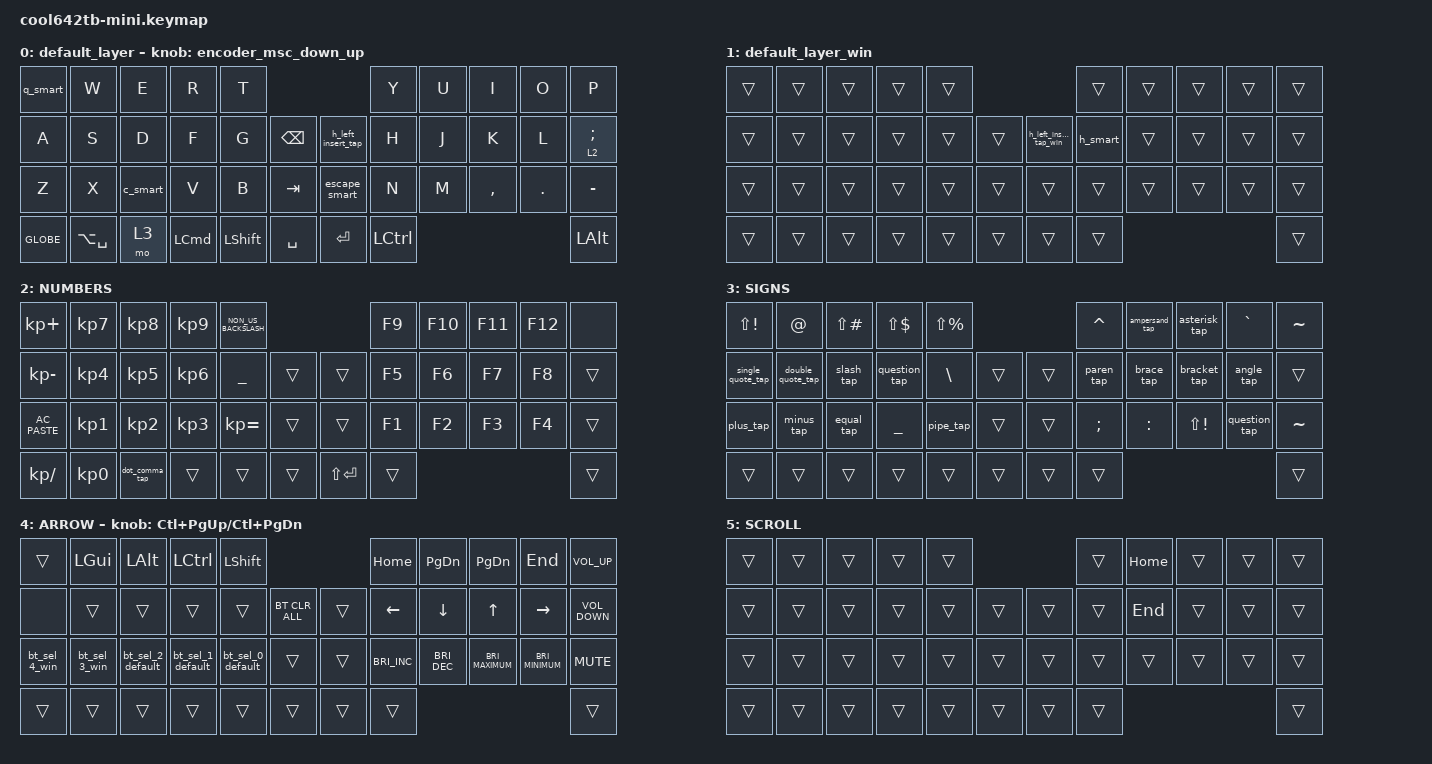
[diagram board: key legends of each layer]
#include <behaviors.dtsi>
#include <dt-bindings/zmk/bt.h>
#include <dt-bindings/zmk/keys.h>
#include <dt-bindings/zmk/pointing.h>

#define LAYER_BASE 0
#define LAYER_BASE_WIN 1
#define LAYER_NUMBERS 2
#define LAYER_SIGNS 3
#define LAYER_ARROW 4
#define LAYER_SCROLL 5
#define ZMK_POINTING_DEFAULT_SCRL_VAL 80

&mt {
    flavor = "balanced";
    quick-tap-ms = <0>;
    tapping-term-ms = <200>;
};

&lt { tapping-term-ms = <200>; };

/ {
    combos {
        compatible = "zmk,combos";

        lang {
            bindings = <&lang_jk_tap>;
            key-positions = <18 19>;
            layers = <0 1>;
        };

        mkp_MB1 {
            bindings = <&mkp MB1>;
            key-positions = <7 9>;
        };

        mkp_MB2 {
            bindings = <&mkp MB2>;
            key-positions = <8 9>;
        };

        mkp_MB3 {
            bindings = <&mkp MB3>;
            key-positions = <7 8 9>;
        };

        mkp_double_MB1 {
            bindings = <&double_click>;
            key-positions = <7 8>;
        };

        mkp_MB4 {
            bindings = <&mkp MB4>;
            key-positions = <19 9>;
        };

        mkp_MB5 {
            bindings = <&mkp MB5>;
            key-positions = <20 9>;
        };

        mouse_scroll {
            bindings = <&mo 5>;
            key-positions = <9 21>;
        };

        home {
            bindings = <&kp HOME>;
            key-positions = <21 6>;
        };

        end {
            bindings = <&kp END>;
            key-positions = <8 21>;
        };

        scroll_down {
            bindings = <&msc SCRL_DOWN>;
            key-positions = <21 19>;
        };

        scroll_up {
            bindings = <&msc SCRL_UP>;
            key-positions = <7 21>;
        };

        scroll_left {
            bindings = <&msc SCRL_LEFT>;
            key-positions = <21 18>;
        };

        scroll_right {
            bindings = <&msc SCRL_RIGHT>;
            key-positions = <21 20>;
        };

        both_command {
            bindings = <&both_command>;
            key-positions = <36 37>;
        };

        cursor {
            timeout-ms = <100>;
            bindings = <&mo 4>;
            key-positions = <27 39>;
        };

        numlock {
            bindings = <&kp KP_NUMLOCK>;
            key-positions = <6 7>;
        };

        ctrl_MB1 {
            bindings = <&ctrl_mb1>;
            key-positions = <6 9>;
        };

        alt_mb1 {
            bindings = <&alt_mb1>;
            key-positions = <9 18>;
        };
    };

    macros {
        q_ctrl_lang2: q_ctrl_lang2 {
            compatible = "zmk,behavior-macro";
            #binding-cells = <0>;
            wait-ms = <40>;
            tap-ms = <40>;
            bindings = <&kp LC(Q)>, <&macro_pause_for_release>, <&kp LANG2>;
        };

        c_ctrl_lang2: c_ctrl_lang2 {
            compatible = "zmk,behavior-macro";
            #binding-cells = <0>;
            wait-ms = <40>;
            tap-ms = <40>;
            bindings = <&kp LC(C)>, <&macro_pause_for_release>, <&kp LANG2>;
        };

        escape_lang2: escape_lang2 {
            compatible = "zmk,behavior-macro";
            #binding-cells = <0>;
            wait-ms = <40>;
            tap-ms = <40>;
            bindings = <&kp ESCAPE &kp LANG2>;
        };

        insert_below: end_enter {
            compatible = "zmk,behavior-macro";
            #binding-cells = <0>;
            wait-ms = <40>;
            tap-ms = <40>;
            bindings = <&kp LC(RIGHT) &kp ENTER>;
        };

        gui_sign_layer: gui_sign_layer {
            compatible = "zmk,behavior-macro";
            #binding-cells = <0>;
            wait-ms = <0>;
            tap-ms = <0>;
            bindings =
                <&macro_press>,
                <&kp LEFT_COMMAND &mo 3>,
                <&macro_pause_for_release>,
                <&macro_release>,
                <&mo 3 &kp LEFT_COMMAND>;
        };

        alt_sign_layer: alt_sign_layer {
            compatible = "zmk,behavior-macro";
            #binding-cells = <0>;
            wait-ms = <0>;
            tap-ms = <0>;
            bindings =
                <&macro_press>,
                <&kp LEFT_ALT &mo 3>,
                <&macro_pause_for_release>,
                <&macro_release>,
                <&mo 3 &kp LEFT_ALT>;
        };

        plus_spaced: plus_spaced {
            compatible = "zmk,behavior-macro";
            #binding-cells = <0>;
            wait-ms = <40>;
            tap-ms = <40>;
            bindings = <&kp SPACE &kp PLUS &kp SPACE>;
        };

        minus_spaced: minus_spaced {
            compatible = "zmk,behavior-macro";
            #binding-cells = <0>;
            wait-ms = <40>;
            tap-ms = <40>;
            bindings = <&kp SPACE &kp MINUS &kp SPACE>;
        };

        asterisk_spaced: asterisk_spaced {
            compatible = "zmk,behavior-macro";
            #binding-cells = <0>;
            wait-ms = <40>;
            tap-ms = <40>;
            bindings = <&kp SPACE &kp ASTERISK &kp SPACE>;
        };

        slash_spaced: slash_spaced {
            compatible = "zmk,behavior-macro";
            #binding-cells = <0>;
            wait-ms = <40>;
            tap-ms = <40>;
            bindings = <&kp SPACE &kp SLASH &kp SPACE>;
        };

        equal_spaced: equal_spaced {
            compatible = "zmk,behavior-macro";
            #binding-cells = <0>;
            wait-ms = <40>;
            tap-ms = <40>;
            bindings = <&kp SPACE &kp EQUAL &kp SPACE>;
        };

        plus_double: plus_double {
            compatible = "zmk,behavior-macro";
            #binding-cells = <0>;
            wait-ms = <40>;
            tap-ms = <40>;
            bindings = <&kp PLUS &kp PLUS>;
        };

        minus_double: minus_double {
            compatible = "zmk,behavior-macro";
            #binding-cells = <0>;
            wait-ms = <40>;
            tap-ms = <40>;
            bindings = <&kp MINUS &kp MINUS>;
        };

        asterisk_double: asterisk_double {
            compatible = "zmk,behavior-macro";
            #binding-cells = <0>;
            wait-ms = <40>;
            tap-ms = <40>;
            bindings = <&kp ASTERISK &kp ASTERISK>;
        };

        slash_double: slash_double {
            compatible = "zmk,behavior-macro";
            #binding-cells = <0>;
            wait-ms = <40>;
            tap-ms = <40>;
            bindings = <&kp SLASH &kp SLASH>;
        };

        equal_double: equal_double {
            compatible = "zmk,behavior-macro";
            #binding-cells = <0>;
            wait-ms = <40>;
            tap-ms = <40>;
            bindings = <&kp EQUAL &kp EQUAL>;
        };

        single_quote_pair: single_quote_pair {
            compatible = "zmk,behavior-macro";
            #binding-cells = <0>;
            wait-ms = <40>;
            tap-ms = <40>;
            bindings = <&kp SQT &kp SQT &kp LEFT>;
        };

        double_quote_pair: double_quote_pair {
            compatible = "zmk,behavior-macro";
            #binding-cells = <0>;
            wait-ms = <40>;
            tap-ms = <40>;
            bindings = <&kp DOUBLE_QUOTES &kp DOUBLE_QUOTES &kp LEFT>;
        };

        question_spaced: question_spaced {
            compatible = "zmk,behavior-macro";
            #binding-cells = <0>;
            wait-ms = <40>;
            tap-ms = <40>;
            bindings = <&kp SPACE &kp QUESTION &kp SPACE>;
        };

        question_double: question_double {
            compatible = "zmk,behavior-macro";
            #binding-cells = <0>;
            wait-ms = <40>;
            tap-ms = <40>;
            bindings = <&kp QUESTION &kp QUESTION>;
        };

        paren_pair: paren_pair {
            compatible = "zmk,behavior-macro";
            #binding-cells = <0>;
            wait-ms = <40>;
            tap-ms = <40>;
            bindings = <&kp LEFT_PARENTHESIS &kp RIGHT_PARENTHESIS &kp LEFT>;
        };

        brace_pair: brace_pair {
            compatible = "zmk,behavior-macro";
            #binding-cells = <0>;
            wait-ms = <40>;
            tap-ms = <40>;
            bindings = <&kp LEFT_BRACE &kp RIGHT_BRACE &kp LEFT>;
        };

        bracket_pair: bracket_pair {
            compatible = "zmk,behavior-macro";
            #binding-cells = <0>;
            wait-ms = <40>;
            tap-ms = <40>;
            bindings = <&kp LEFT_BRACKET &kp RIGHT_BRACKET &kp LEFT>;
        };

        angle_pair: angle_pair {
            compatible = "zmk,behavior-macro";
            #binding-cells = <0>;
            wait-ms = <40>;
            tap-ms = <40>;
            bindings = <&kp LESS_THAN &kp GREATER_THAN &kp LEFT>;
        };

        ampersand_spaced: ampersand_spaced {
            compatible = "zmk,behavior-macro";
            #binding-cells = <0>;
            wait-ms = <40>;
            tap-ms = <40>;
            bindings = <&kp SPACE &kp AMPERSAND &kp SPACE>;
        };

        ampersand_double: ampersand_double {
            compatible = "zmk,behavior-macro";
            #binding-cells = <0>;
            wait-ms = <40>;
            tap-ms = <40>;
            bindings = <&kp AMPERSAND &kp AMPERSAND>;
        };

        pipe_spaced: pipe_spaced {
            compatible = "zmk,behavior-macro";
            #binding-cells = <0>;
            wait-ms = <40>;
            tap-ms = <40>;
            bindings = <&kp SPACE &kp PIPE &kp SPACE>;
        };

        pipe_double: pipe_double {
            compatible = "zmk,behavior-macro";
            #binding-cells = <0>;
            wait-ms = <40>;
            tap-ms = <40>;
            bindings = <&kp PIPE &kp PIPE>;
        };

        insert_above: insert_above {
            compatible = "zmk,behavior-macro";
            #binding-cells = <0>;
            wait-ms = <40>;
            tap-ms = <40>;
            bindings = <&kp LC(LEFT) &kp ENTER &kp UP_ARROW>;
            label = "INSERT_ABOVE";
        };

        double_click: double_click {
            compatible = "zmk,behavior-macro";
            #binding-cells = <0>;
            wait-ms = <40>;
            tap-ms = <40>;
            bindings =
                <&mkp MB1>,
                <&macro_press>,
                <&mkp MB1>,
                <&macro_pause_for_release>,
                <&macro_release>,
                <&mkp MB1>;

            label = "DOUBLE_CLICK";
        };

        insert_below_win: insert_below_win {
            compatible = "zmk,behavior-macro";
            #binding-cells = <0>;
            wait-ms = <40>;
            tap-ms = <40>;
            bindings = <&kp END &kp ENTER>;
            label = "INSERT_BELOW_WIN";
        };

        insert_above_win: insert_above_win {
            compatible = "zmk,behavior-macro";
            #binding-cells = <0>;
            wait-ms = <40>;
            tap-ms = <40>;
            bindings = <&kp HOME &kp ENTER &kp UP_ARROW>;
            label = "INSERT_ABOVE_WIN";
        };

        bt_sel_4_win: bt_sel_4_win {
            compatible = "zmk,behavior-macro";
            #binding-cells = <0>;
            wait-ms = <40>;
            tap-ms = <40>;
            bindings = <&to 1 &bt_english 4>;
        };

        bt_sel_3_win: bt_sel_3_win {
            compatible = "zmk,behavior-macro";
            #binding-cells = <0>;
            wait-ms = <40>;
            tap-ms = <40>;
            bindings = <&to 1 &bt_english 3>;
        };

        bt_sel_2_default: bt_sel_2_default {
            compatible = "zmk,behavior-macro";
            #binding-cells = <0>;
            wait-ms = <40>;
            tap-ms = <40>;
            bindings = <&to 0 &bt_english 2>;
        };

        bt_sel_1_default: bt_sel_1_default {
            compatible = "zmk,behavior-macro";
            #binding-cells = <0>;
            wait-ms = <40>;
            tap-ms = <40>;
            bindings = <&to 0 &bt_english 1>;
        };

        bt_sel_0_default: bt_sel_0_default {
            compatible = "zmk,behavior-macro";
            #binding-cells = <0>;
            wait-ms = <40>;
            tap-ms = <40>;
            bindings = <&to 0 &bt_english 0>;
        };

        both_command: both_command {
            compatible = "zmk,behavior-macro";
            #binding-cells = <0>;
            bindings =
                <&macro_press>,
                <&kp RIGHT_COMMAND &kp LEFT_COMMAND>,
                <&macro_pause_for_release>,
                <&macro_release>,
                <&kp LEFT_COMMAND &kp RIGHT_COMMAND>;

            label = "BOTH_COMMAND";
        };

        ctrl_mb1: ctrl_mb1 {
            compatible = "zmk,behavior-macro";
            #binding-cells = <0>;
            wait-ms = <0>;
            tap-ms = <0>;
            bindings =
                <&macro_press>,
                <&kp LCTRL &mkp MB1>,
                <&macro_pause_for_release>,
                <&macro_release>,
                <&mkp MB1 &kp LCTRL>;

            label = "CTRL_MB1";
        };

        alt_mb1: alt_mb1 {
            compatible = "zmk,behavior-macro";
            #binding-cells = <0>;
            wait-ms = <0>;
            tap-ms = <0>;
            bindings =
                <&macro_press>,
                <&kp LEFT_ALT &mkp MB1>,
                <&macro_pause_for_release>,
                <&macro_release>,
                <&mkp MB1 &kp LEFT_ALT>;

            label = "ALT_MB1";
        };
    };

    behaviors {
        // Bluetooth接続先が入力を受け取れる状態になってから英数に切り替える。
        bt_english: bt_english {
            compatible = "zmk,behavior-bt-english";
            #binding-cells = <1>;
        };

        encoder_msc_down_up: encoder_msc_down_up {
            compatible = "zmk,behavior-sensor-rotate";
            label = "ENCODER_MSC_DOWN_UP";
            #sensor-binding-cells = <0>;
            bindings = <&msc SCRL_UP>, <&msc SCRL_DOWN>;

            tap-ms = <40>;
        };

        lang_jk_tap: lang_jk_tap {
            compatible = "zmk,behavior-tap-dance";
            #binding-cells = <0>;
            tapping-term-ms = <200>;
            bindings = <&kp LANG2>, <&kp LANG1>;
        };

        h_left_insert_tap: h_left_insert_tap {
            compatible = "zmk,behavior-tap-dance";
            #binding-cells = <0>;
            tapping-term-ms = <200>;
            bindings = <&none>, <&insert_below>, <&insert_above>;
        };

        dot_comma_tap: dot_comma_tap {
            compatible = "zmk,behavior-tap-dance";
            #binding-cells = <0>;
            tapping-term-ms = <200>;
            bindings = <&kp KP_DOT>, <&kp KP_COMMA>;
        };

        plus_tap: plus_tap {
            compatible = "zmk,behavior-tap-dance";
            #binding-cells = <0>;
            tapping-term-ms = <200>;
            bindings = <&kp PLUS>, <&plus_spaced>, <&plus_double>;
        };

        minus_tap: minus_tap {
            compatible = "zmk,behavior-tap-dance";
            #binding-cells = <0>;
            tapping-term-ms = <200>;
            bindings = <&kp MINUS>, <&minus_spaced>, <&minus_double>;
        };

        asterisk_tap: asterisk_tap {
            compatible = "zmk,behavior-tap-dance";
            #binding-cells = <0>;
            tapping-term-ms = <200>;
            bindings = <&kp ASTERISK>, <&asterisk_spaced>, <&asterisk_double>;
        };

        slash_tap: slash_tap {
            compatible = "zmk,behavior-tap-dance";
            #binding-cells = <0>;
            tapping-term-ms = <200>;
            bindings = <&kp SLASH>, <&slash_spaced>, <&slash_double>;
        };

        equal_tap: equal_tap {
            compatible = "zmk,behavior-tap-dance";
            #binding-cells = <0>;
            tapping-term-ms = <200>;
            bindings = <&kp EQUAL>, <&equal_spaced>, <&equal_double>;
        };

        single_quote_tap: single_quote_tap {
            compatible = "zmk,behavior-tap-dance";
            #binding-cells = <0>;
            tapping-term-ms = <200>;
            bindings = <&kp SQT>, <&single_quote_pair>;
        };

        double_quote_tap: double_quote_tap {
            compatible = "zmk,behavior-tap-dance";
            #binding-cells = <0>;
            tapping-term-ms = <200>;
            bindings = <&kp DOUBLE_QUOTES>, <&double_quote_pair>;
        };

        question_tap: question_tap {
            compatible = "zmk,behavior-tap-dance";
            #binding-cells = <0>;
            tapping-term-ms = <200>;
            bindings = <&kp QUESTION>, <&question_spaced>, <&question_double>;
        };

        paren_tap: paren_tap {
            compatible = "zmk,behavior-tap-dance";
            #binding-cells = <0>;
            tapping-term-ms = <200>;
            bindings =
                <&kp LS(LEFT_PARENTHESIS)>,
                <&kp LS(RIGHT_PARENTHESIS)>,
                <&paren_pair>;
        };

        brace_tap: brace_tap {
            compatible = "zmk,behavior-tap-dance";
            #binding-cells = <0>;
            tapping-term-ms = <200>;
            bindings =
                <&kp LS(LEFT_BRACE)>,
                <&kp LS(RIGHT_BRACE)>,
                <&brace_pair>;
        };

        bracket_tap: bracket_tap {
            compatible = "zmk,behavior-tap-dance";
            #binding-cells = <0>;
            tapping-term-ms = <200>;
            bindings = <&kp LEFT_BRACKET>, <&kp RIGHT_BRACKET>, <&bracket_pair>;
        };

        angle_tap: angle_tap {
            compatible = "zmk,behavior-tap-dance";
            #binding-cells = <0>;
            tapping-term-ms = <200>;
            bindings =
                <&kp LS(LESS_THAN)>,
                <&kp LS(GREATER_THAN)>,
                <&angle_pair>;
        };

        ampersand_tap: ampersand_tap {
            compatible = "zmk,behavior-tap-dance";
            #binding-cells = <0>;
            tapping-term-ms = <200>;
            bindings =
                <&kp AMPERSAND>,
                <&ampersand_spaced>,
                <&ampersand_double>;
        };

        pipe_tap: pipe_tap {
            compatible = "zmk,behavior-tap-dance";
            #binding-cells = <0>;
            tapping-term-ms = <200>;
            bindings = <&kp PIPE>, <&pipe_spaced>, <&pipe_double>;
        };

        q_ctrl_only_lang1: q_ctrl_only_lang1 {
            compatible = "zmk,behavior-mod-morph";
            #binding-cells = <0>;
            bindings = <&kp Q>, <&q_ctrl_lang2>;

            mods = <(MOD_LCTL|MOD_RCTL)>;
        };

        q_smart: q_smart {
            compatible = "zmk,behavior-mod-morph";
            #binding-cells = <0>;
            bindings = <&q_ctrl_only_lang1>, <&kp Q>;

            mods = <(MOD_LALT|MOD_RALT|MOD_LGUI|MOD_RGUI|MOD_LSFT|MOD_RSFT)>;
            keep-mods = <(MOD_LALT|MOD_RALT|MOD_LGUI|MOD_RGUI|MOD_LSFT|MOD_RSFT)>;
        };

        c_ctrl_only_lang1: c_ctrl_only_lang1 {
            compatible = "zmk,behavior-mod-morph";
            #binding-cells = <0>;
            bindings = <&kp C>, <&c_ctrl_lang2>;

            mods = <(MOD_LCTL|MOD_RCTL)>;
        };

        c_smart: c_smart {
            compatible = "zmk,behavior-mod-morph";
            #binding-cells = <0>;
            bindings = <&c_ctrl_only_lang1>, <&kp C>;

            mods = <(MOD_LALT|MOD_RALT|MOD_LGUI|MOD_RGUI|MOD_LSFT|MOD_RSFT)>;
            keep-mods = <(MOD_LALT|MOD_RALT|MOD_LGUI|MOD_RGUI|MOD_LSFT|MOD_RSFT)>;
        };

        h_ctrl_only_backspace: h_ctrl_only_backspace {
            compatible = "zmk,behavior-mod-morph";
            #binding-cells = <0>;
            bindings = <&kp H>, <&kp BACKSPACE>;

            mods = <(MOD_LCTL|MOD_RCTL)>;
        };

        h_smart: h_smart {
            compatible = "zmk,behavior-mod-morph";
            #binding-cells = <0>;
            bindings = <&h_ctrl_only_backspace>, <&kp H>;

            mods = <(MOD_LALT|MOD_RALT|MOD_LGUI|MOD_RGUI|MOD_LSFT|MOD_RSFT)>;
            keep-mods = <(MOD_LCTL|MOD_RCTL|MOD_LALT|MOD_RALT|MOD_LGUI|MOD_RGUI|MOD_LSFT|MOD_RSFT)>;
        };

        escape_smart: escape_smart {
            compatible = "zmk,behavior-mod-morph";
            #binding-cells = <0>;
            bindings = <&escape_lang2>, <&kp ESCAPE>;

            mods = <(MOD_LCTL|MOD_RCTL|MOD_LALT|MOD_RALT|MOD_LGUI|MOD_RGUI|MOD_LSFT|MOD_RSFT)>;
            keep-mods = <(MOD_LCTL|MOD_RCTL|MOD_LALT|MOD_RALT|MOD_LGUI|MOD_RGUI|MOD_LSFT|MOD_RSFT)>;
        };

        h_left_insert_tap_win: h_left_insert_tap_win {
            compatible = "zmk,behavior-tap-dance";
            #binding-cells = <0>;
            tapping-term-ms = <200>;
            bindings = <&none>, <&insert_below_win>, <&insert_above_win>;

            label = "H_LEFT_INSERT_TAP_WIN";
        };

        sign_arrow: sign_arrow {
            compatible = "zmk,behavior-tap-dance";
            label = "sign_arrow";
            #binding-cells = <0>;
            bindings = <&mo 3>, <&mo 4>;
        };
    };

    keymap {
        compatible = "zmk,keymap";

        default_layer {
            bindings = <
&q_smart   &kp W          &kp E     &kp R             &kp T                                                  &kp Y             &kp U  &kp I      &kp O       &kp P
&kp A      &kp S          &kp D     &kp F             &kp G           &kp BACKSPACE      &h_left_insert_tap  &kp H             &kp J  &kp K      &kp L       &lt 2 SEMI
&kp Z      &kp X          &c_smart  &kp V             &kp B           &kp TAB            &escape_smart       &kp N             &kp M  &kp COMMA  &kp PERIOD  &kp MINUS
&kp GLOBE  &kp LA(SPACE)  &mo 3     &kp LEFT_COMMAND  &kp LEFT_SHIFT  &kp SPACE          &kp ENTER           &kp LEFT_CONTROL                                &kp LEFT_ALT
            >;

            sensor-bindings = <&encoder_msc_down_up>;
        };

        default_layer_win {
            bindings = <
&trans  &trans  &trans  &trans  &trans                                      &trans  &trans  &trans  &trans  &trans
&trans  &trans  &trans  &trans  &trans  &trans      &h_left_insert_tap_win  &h_smart  &trans  &trans  &trans  &trans
&trans  &trans  &trans  &trans  &trans  &trans      &trans                  &trans  &trans  &trans  &trans  &trans
&trans  &trans  &trans  &trans  &trans  &trans      &trans                  &trans                          &trans
            >;
        };

        NUMBERS {
            bindings = <
&kp KP_PLUS     &kp KP_NUMBER_7  &kp KP_NUMBER_8  &kp KP_NUMBER_9  &kp NON_US_BACKSLASH                             &kp F9  &kp F10  &kp F11  &kp F12  &none
&kp KP_MINUS    &kp KP_NUMBER_4  &kp KP_NUMBER_5  &kp KP_NUMBER_6  &kp UNDER             &trans      &trans         &kp F5  &kp F6   &kp F7   &kp F8   &trans
&kp C_AC_PASTE  &kp KP_NUMBER_1  &kp KP_NUMBER_2  &kp KP_NUMBER_3  &kp KP_EQUAL          &trans      &trans         &kp F1  &kp F2   &kp F3   &kp F4   &trans
&kp KP_SLASH    &kp KP_NUMBER_0  &dot_comma_tap   &trans           &trans                &trans      &kp LS(ENTER)  &trans                             &trans
            >;
        };

        SIGNS {
            bindings = <
&kp LS(EXCL)       &kp AT             &kp LS(POUND)  &kp LS(DLLR)   &kp LS(PRCNT)                      &kp CARET   &ampersand_tap  &asterisk_tap  &kp GRAVE      &kp TILDE
&single_quote_tap  &double_quote_tap  &slash_tap     &question_tap  &kp BACKSLASH  &trans      &trans  &paren_tap  &brace_tap      &bracket_tap   &angle_tap     &trans
&plus_tap          &minus_tap         &equal_tap     &kp UNDER      &pipe_tap      &trans      &trans  &kp SEMI    &kp COLON       &kp LS(EXCL)   &question_tap  &kp TILDE
&trans             &trans             &trans         &trans         &trans         &trans      &trans  &trans                                                    &trans
            >;
        };

        ARROW {
            bindings = <
&trans         &kp LEFT_GUI   &kp LEFT_ALT       &kp LCTRL          &kp LEFT_SHIFT                                 &kp HOME              &kp PAGE_DOWN         &kp PAGE_DOWN             &kp END                   &kp C_VOLUME_UP
&none          &trans         &trans             &trans             &trans             &bt BT_CLR_ALL      &trans  &kp LEFT              &kp DOWN              &kp UP                    &kp RIGHT                 &kp C_VOLUME_DOWN
&bt_sel_4_win  &bt_sel_3_win  &bt_sel_2_default  &bt_sel_1_default  &bt_sel_0_default  &trans              &trans  &kp C_BRIGHTNESS_INC  &kp C_BRIGHTNESS_DEC  &kp C_BRIGHTNESS_MAXIMUM  &kp C_BRIGHTNESS_MINIMUM  &kp K_MUTE
&trans         &trans         &trans             &trans             &trans             &trans              &trans  &trans                                                                                          &trans
            >;

            sensor-bindings = <&inc_dec_kp LC(PAGE_UP) LC(PAGE_DOWN)>;
        };

        SCROLL {
            bindings = <
&trans  &trans  &trans  &trans  &trans                      &trans  &kp HOME  &trans  &trans  &trans
&trans  &trans  &trans  &trans  &trans  &trans      &trans  &trans  &kp END   &trans  &trans  &trans
&trans  &trans  &trans  &trans  &trans  &trans      &trans  &trans  &trans    &trans  &trans  &trans
&trans  &trans  &trans  &trans  &trans  &trans      &trans  &trans                            &trans
            >;
        };
    };
};
